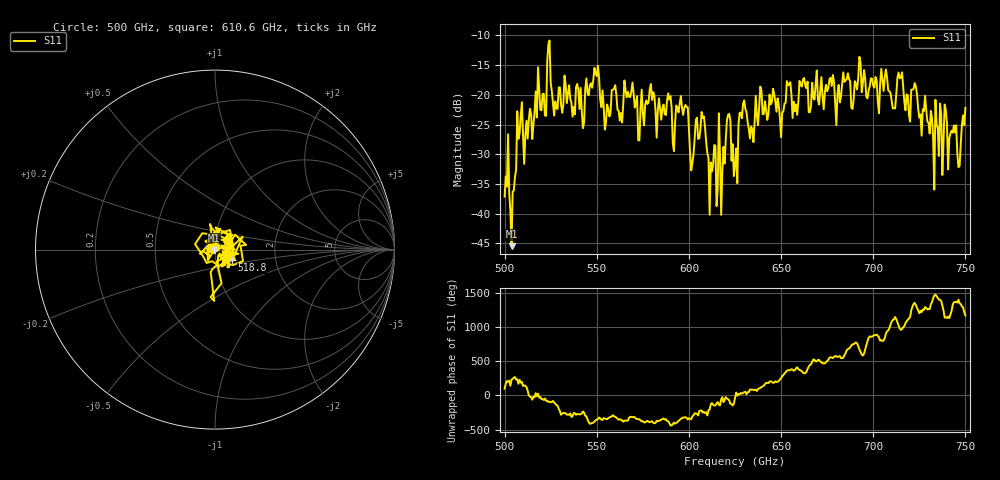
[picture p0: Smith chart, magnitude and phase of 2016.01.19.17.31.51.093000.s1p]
!Created with skrf (http://scikit-rf.org).
# GHz S RI R 50.0
!freq ReS11 ImS11
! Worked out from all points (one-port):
!   401 points, 500 GHz to 750 GHz, reference 50 ohm
!   lowest |S11| = -45.5 dB at 503.8 GHz (marker M1), VSWR 1.01, Z = 49.6 - j0.395 ohm
!   |S11| at or under -10 dB: start of sweep to end of sweep
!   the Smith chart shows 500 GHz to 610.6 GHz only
!   S11 on the Smith chart (normalised r, x): 500 GHz: 1.00, +0.03; 518.8 GHz: 1.20, -0.15; 610.6 GHz: 0.95, +0.03
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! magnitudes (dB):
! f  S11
! 500 GHz  -37.1
! 503.8 GHz  -45.5
! 508.1 GHz  -26.5
! 518.8 GHz  -19.0
! 524.4 GHz  -10.9
! 527.5 GHz  -21.1
! 531.2 GHz  -23.0
! 541.9 GHz  -22.8
! 550 GHz  -16.9
! 553.8 GHz  -21.9
! 562.5 GHz  -24.4
! 593.8 GHz  -22.2
! 598.8 GHz  -22.1
! 601.9 GHz  -31.5
! 607.5 GHz  -23.9
! 610.6 GHz  -30.7
! 618.1 GHz  -32.9
! 621.2 GHz  -23.3
! 625 GHz  -31.9
! 628.8 GHz  -24.0
! 633.8 GHz  -25.4
! 656.2 GHz  -23.9
! 687.5 GHz  -17.7
! 711.2 GHz  -22.2
! 714.4 GHz  -17.2
! 718.8 GHz  -20.1
! 746.2 GHz  -32.2
! 750 GHz  -22.2
